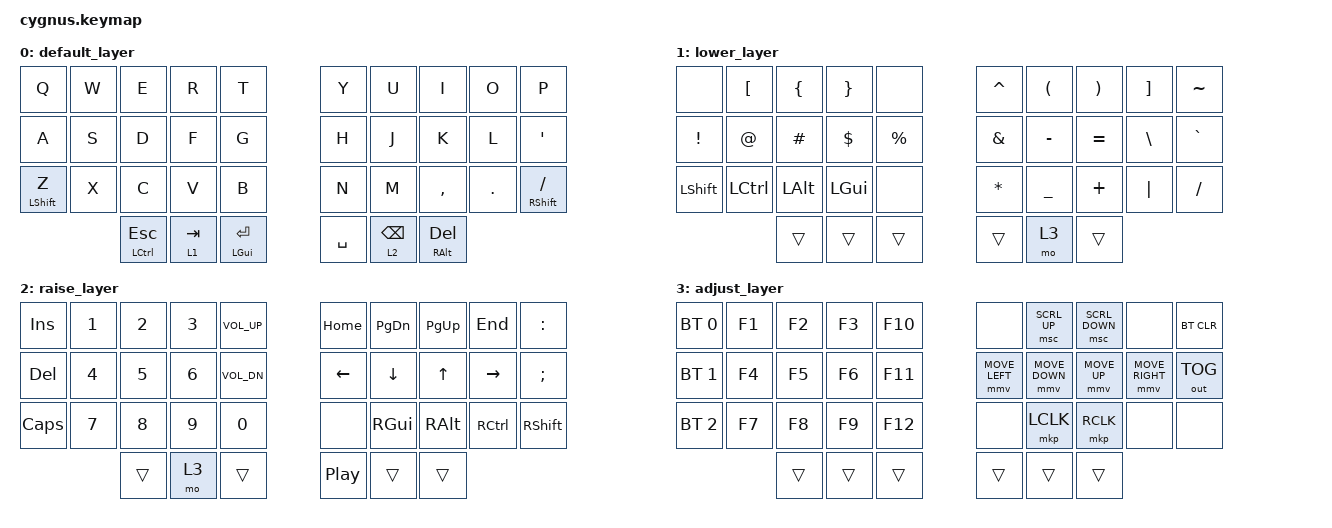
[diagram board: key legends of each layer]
/*
 * Copyright (c) 2020 The ZMK Contributors
 *
 * SPDX-License-Identifier: MIT
 */

#include <behaviors.dtsi>
#include <dt-bindings/zmk/bt.h>
#include <dt-bindings/zmk/keys.h>
#include <dt-bindings/zmk/outputs.h>
#include <dt-bindings/zmk/pointing.h>

&mt { flavor = "tap-preferred"; };

&sk {
    release-after-ms = <2000>;
    quick-release;
};

/ {
    combos { compatible = "zmk,combos"; };

    behaviors {
        ltq: ltq {
            compatible = "zmk,behavior-hold-tap";
            label = "LTQ";
            #binding-cells = <2>;
            tapping-term-ms = <200>;
            flavor = "hold-preferred";
            bindings = <&mo>, <&kp>;

            quick-tap-ms = <180>;
        };

        mtq: mtq {
            compatible = "zmk,behavior-hold-tap";
            label = "MTQ";
            bindings = <&kp>, <&kp>;

            #binding-cells = <2>;
            tapping-term-ms = <200>;
            quick-tap-ms = <180>;
        };
    };

    keymap {
        compatible = "zmk,keymap";

        default_layer {
            bindings = <
&kp Q                         &kp W              &kp E                   &kp R  &kp T      &kp Y                            &kp U  &kp I      &kp O    &kp P
&kp A                         &kp S              &kp D                   &kp F  &kp G      &kp H                            &kp J  &kp K      &kp L    &kp SQT
&mt LSHIFT Z                  &kp X              &kp C                   &kp V  &kp B      &kp N                            &kp M  &kp COMMA  &kp DOT  &mt RSHFT SLASH
              &mtq LCTRL ESC         &ltq 1 TAB         &mtq LGUI ENTER         &kp SPACE  &ltq 2 BACKSPACE  &mtq RALT DEL
            >;
        };

        lower_layer {
            bindings = <
&none              &kp LBKT           &kp LBRC          &kp RBRC  &none      &kp CARET          &kp LPAR   &kp RPAR   &kp RBKT  &kp TILDE
&kp EXCL           &kp AT             &kp HASH          &kp DLLR  &kp PRCNT  &kp AMPS           &kp MINUS  &kp EQUAL  &kp BSLH  &kp GRAVE
&kp LSHFT          &kp LCTRL          &kp LALT          &kp LGUI  &none      &kp ASTRK          &kp UNDER  &kp PLUS   &kp PIPE  &kp FSLH
           &trans             &trans            &trans            &trans     &mo 3      &trans
            >;
        };

        raise_layer {
            bindings = <
&kp INS           &kp N1         &kp N2          &kp N3  &kp C_VOL_UP  &kp HOME          &kp PG_DN  &kp PG_UP  &kp END    &kp COLON
&kp DEL           &kp N4         &kp N5          &kp N6  &kp C_VOL_DN  &kp LEFT          &kp DOWN   &kp UP     &kp RIGHT  &kp SEMI
&kp CAPS          &kp N7         &kp N8          &kp N9  &kp N0        &none             &kp RGUI   &kp RALT   &kp RCTRL  &kp RSHFT
          &trans          &mo 3          &trans          &kp C_PP      &trans    &trans
            >;
        };

        adjust_layer {
            bindings = <
&bt BT_SEL 0          &kp F1          &kp F2          &kp F3  &kp F10  &none                   &msc SCRL_UP    &msc SCRL_DOWN  &none            &bt BT_CLR
&bt BT_SEL 1          &kp F4          &kp F5          &kp F6  &kp F11  &mmv MOVE_LEFT          &mmv MOVE_DOWN  &mmv MOVE_UP    &mmv MOVE_RIGHT  &out OUT_TOG
&bt BT_SEL 2          &kp F7          &kp F8          &kp F9  &kp F12  &none                   &mkp LCLK       &mkp RCLK       &none            &none
              &trans          &trans          &trans          &trans   &trans          &trans
            >;
        };
    };
};
